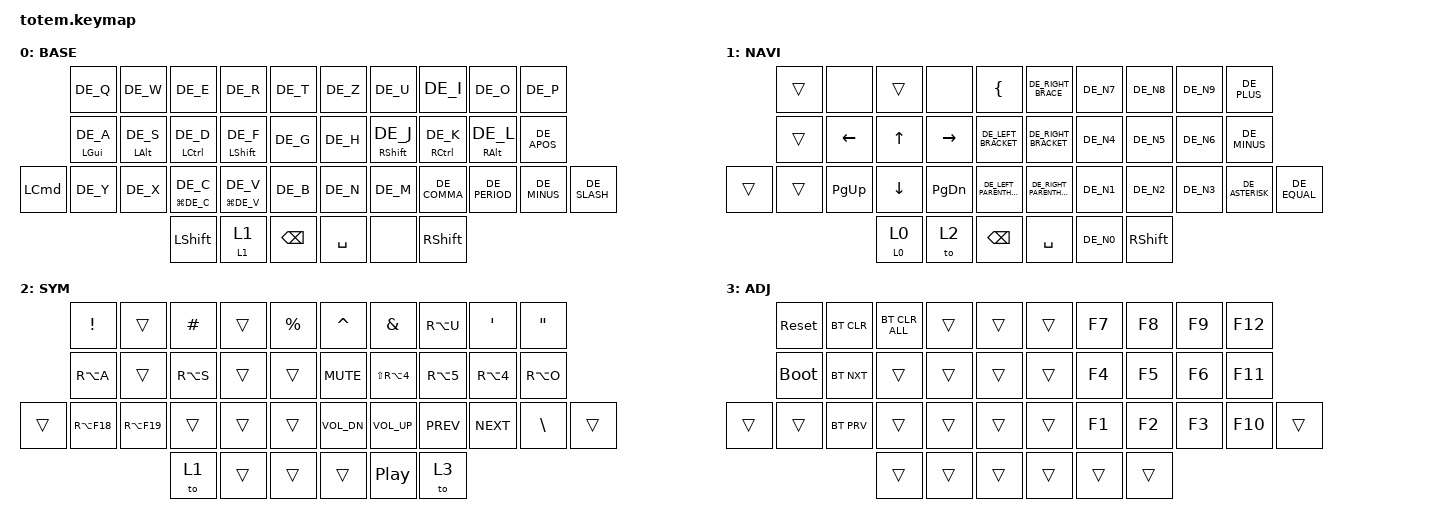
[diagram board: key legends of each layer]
//
//                                                        ▀▀▀▀▀     ▀▀▀▀▀          ▀▀█▀▀
//                                                        ▄▀▀▀▄  ▄  ▄▀▀▀▄  ▄  ▄▀▀▀▄  █  ▄▀▀▀▄
//                                                        █   █  █  █   █  █  █   █  █  █   █
//                                                         ▀▀▀   █   ▀▀▀   █   ▀▀▀   ▀   ▀▀▀
//                                                               █      ▄▄▄█▄▄▄    █   █
//                                                               ▀      █  █  █     █▄█
//                                                             ▀▀▀▀▀    █  █  █      ▀
//                                                                      ▀  ▀  ▀
//
// ▄▄▄▄▄▄▄▄▄▄▄▄▄▄▄▄▄▄▄▄▄▄▄▄▄▄▄▄▄▄▄▄▄▄▄▄▄▄▄▄▄▄▄▄▄▄▄▄▄▄▄▄▄▄▄▄▄▄▄▄▄▄▄▄▄▄▄▄▄▄▄▄▄▄▄▄▄▄▄▄▄▄▄▄▄▄▄▄▄▄▄▄▄▄▄▄▄▄▄▄▄▄▄▄▄▄▄▄▄▄▄▄▄▄▄▄▄▄▄▄▄▄▄▄▄▄▄▄▄▄▄▄▄▄▄▄▄▄▄▄▄▄▄▄▄▄▄▄▄

#include "keys_de.h"
#include <behaviors.dtsi>
#include <dt-bindings/zmk/bt.h>
#include <dt-bindings/zmk/keys.h>

#define BASE 0
#define NAV  1
#define SYM  2
#define ADJ  3
#define TVP1 4
#define TVP2 5

&mt {
    quick-tap-ms = <100>;
    global-quick-tap;
    flavor = "tap-preferred";
    tapping-term-ms = <170>;
};

/ {
    combos {
        compatible = "zmk,combos";

        combo_esc {
            timeout-ms = <50>;
            key-positions = <0 1>;
            bindings = <&kp ESC>;
        };

        Enter {
            bindings = <&kp KP_ENTER>;
            key-positions = <16 17 18>;
        };

        Return {
            bindings = <&kp ENTER>;
            key-positions = <16 17>;
        };

        to_base {
            bindings = <&to 0>;
            key-positions = <35 34>;
        };

        Eszett {
            bindings = <&kp DE_SZ>;
            key-positions = <5 11>;
        };

        ae {
            bindings = <&kp DE_A_UMLAUT>;
            key-positions = <10 2>;
        };

        oe {
            bindings = <&kp DE_O_UMLAUT>;
            key-positions = <8 2>;
        };

        ue {
            bindings = <&kp DE_U_UMLAUT>;
            key-positions = <6 2>;
        };
    };

    behaviors {
        layermomenttap: layermomenttap {
            compatible = "zmk,behavior-hold-tap";
            label = "LAYERMOMENTTAP";
            bindings = <&mo>, <&to>;

            #binding-cells = <2>;
            tapping-term-ms = <200>;
            flavor = "balanced";
            hold-while-undecided;
        };
    };

    keymap {
        compatible = "zmk,keymap";

        // ▄▄▄▄▄▄▄▄▄▄▄▄▄▄▄▄▄▄▄▄▄▄▄▄▄▄▄▄▄▄▄▄▄▄▄▄▄▄▄▄▄▄▄▄▄▄▄▄▄▄▄▄▄▄▄▄▄▄▄▄▄▄▄▄▄▄▄▄▄▄▄▄▄▄▄▄▄▄▄▄▄▄▄▄▄▄▄▄▄▄▄▄▄▄▄▄▄▄▄▄▄▄▄▄▄▄▄▄▄▄▄▄▄▄▄▄▄▄▄▄▄▄▄▄▄▄▄▄▄▄▄▄▄▄▄▄▄▄▄▄▄▄▄▄▄▄▄▄▄

        base_layer {
            // ┏━━━━━━━━━━━━━━━━━━━━━━━━━━━━━━━━━━━━━━━┓

            label = "BASE";

            // ┗━━━━━━━━━━━━━━━━━━━━━━━━━━━━━━━━━━━━━━━┛
            //             ┏━━━━━━━━━━━┳━━━━━━━━━━━┳━━━━━━━━━━━┳━━━━━━━━━━━┳━━━━━━━━━━━┓   ┏━━━━━━━━━━━┳━━━━━━━━━━━┳━━━━━━━━━━━┳━━━━━━━━━━━┳━━━━━━━━━━━┓
            //             ┃     Q     ┃     W     ┃     F     ┃     P     ┃     G     ┃   ┃     J     ┃     L     ┃     U     ┃     Y     ┃     ;     ┃
            //             ┣━━━━━━━━━━━╋━━━━━━━━━━━╋━━━━━━━━━━━╋━━━━━━━━━━━╋━━━━━━━━━━━┫   ┣━━━━━━━━━━━╋━━━━━━━━━━━╋━━━━━━━━━━━╋━━━━━━━━━━━╋━━━━━━━━━━━┫
            //             ┃     A     ┃     R     ┃     S     ┃     T     ┃     D     ┃   ┃     H     ┃     N     ┃     E     ┃     I     ┃     O     ┃
            // ┏━━━━━━━━━━━╋━━━━━━━━━━━╋━━━━━━━━━━━╋━━━━━━━━━━━╋━━━━━━━━━━━╋━━━━━━━━━━━┫   ┣━━━━━━━━━━━╋━━━━━━━━━━━╋━━━━━━━━━━━╋━━━━━━━━━━━╋━━━━━━━━━━━╋━━━━━━━━━━━┓
            // ┃     Q     ┃     Z     ┃     X     ┃     C     ┃     V     ┃     B     ┃   ┃     K     ┃     M     ┃     ,     ┃     .     ┃     /     ┃     \     ┃
            // ┗━━━━━━━━━━━┻━━━━━━━━━━━┻━━━━━━━━━━━╋━━━━━━━━━━━╋━━━━━━━━━━━╋━━━━━━━━━━━┫   ┣━━━━━━━━━━━╋━━━━━━━━━━━╋━━━━━━━━━━━╋━━━━━━━━━━━┻━━━━━━━━━━━┻━━━━━━━━━━━┛
            //                                     ┃    DEL    ┃    TAB    ┃    SPC    ┃   ┃   ENTER   ┃           ┃   BSPC    ┃
            //                                     ┗━━━━━━━━━━━┻━━━━━━━━━━━┻━━━━━━━━━━━┛   ┗━━━━━━━━━━━┻━━━━━━━━━━━┻━━━━━━━━━━━┛

            bindings = <
                  &kp DE_Q       &kp DE_W       &kp DE_E           &kp DE_R             &kp DE_T         &kp DE_Z   &kp DE_U        &kp DE_I         &kp DE_O       &kp DE_P
                  &mt LGUI DE_A  &mt LALT DE_S  &mt LCTRL DE_D     &mt LSHFT DE_F       &kp DE_G         &kp DE_H   &mt RSHFT DE_J  &mt RCTRL DE_K   &mt RALT DE_L  &kp DE_APOS
&kp LEFT_COMMAND  &kp DE_Y       &kp DE_X       &mt LG(DE_C) DE_C  &mt LG(DE_V) DE_V    &kp DE_B         &kp DE_N   &kp DE_M        &kp DE_COMMA     &kp DE_PERIOD  &kp DE_MINUS  &kp DE_SLASH
                                                &kp LEFT_SHIFT     &layermomenttap 1 1  &kp BACKSPACE    &kp SPACE  &none           &kp RIGHT_SHIFT
            >;
        };

        // ▄▄▄▄▄▄▄▄▄▄▄▄▄▄▄▄▄▄▄▄▄▄▄▄▄▄▄▄▄▄▄▄▄▄▄▄▄▄▄▄▄▄▄▄▄▄▄▄▄▄▄▄▄▄▄▄▄▄▄▄▄▄▄▄▄▄▄▄▄▄▄▄▄▄▄▄▄▄▄▄▄▄▄▄▄▄▄▄▄▄▄▄▄▄▄▄▄▄▄▄▄▄▄▄▄▄▄▄▄▄▄▄▄▄▄▄▄▄▄▄▄▄▄▄▄▄▄▄▄▄▄▄▄▄▄▄▄▄▄▄▄▄▄▄▄▄▄▄▄

        nav_layer {
            // ┏━━━━━━━━━━━━━━━━━━━━━━━━━━━━━━━━━━━━━━━┓

            label = "NAVI";

            // ┗━━━━━━━━━━━━━━━━━━━━━━━━━━━━━━━━━━━━━━━┛
            //             ┏━━━━━━━━━━━┳━━━━━━━━━━━┳━━━━━━━━━━━┳━━━━━━━━━━━┳━━━━━━━━━━━┓   ┏━━━━━━━━━━━┳━━━━━━━━━━━┳━━━━━━━━━━━┳━━━━━━━━━━━┳━━━━━━━━━━━┓
            //             ┃           ┃           ┃     UP    ┃           ┃     {     ┃   ┃     }     ┃     7     ┃     8     ┃     9     ┃     +     ┃
            //             ┣━━━━━━━━━━━╋━━━━━━━━━━━╋━━━━━━━━━━━╋━━━━━━━━━━━╋━━━━━━━━━━━┫   ┣━━━━━━━━━━━╋━━━━━━━━━━━╋━━━━━━━━━━━╋━━━━━━━━━━━╋━━━━━━━━━━━┫
            //             ┃   SHIFT   ┃   LEFT    ┃    DOWN   ┃   RIGHT   ┃     [     ┃   ┃     ]     ┃     4     ┃     5     ┃     6     ┃     -     ┃
            // ┏━━━━━━━━━━━╋━━━━━━━━━━━╋━━━━━━━━━━━╋━━━━━━━━━━━╋━━━━━━━━━━━╋━━━━━━━━━━━┫   ┣━━━━━━━━━━━╋━━━━━━━━━━━╋━━━━━━━━━━━╋━━━━━━━━━━━╋━━━━━━━━━━━╋━━━━━━━━━━━┓
            // ┃           ┃           ┃   P UP    ┃  C LOCK   ┃  P DOWN   ┃     (     ┃   ┃     )     ┃     1     ┃     2     ┃     3     ┃     *     ┃           ┃
            // ┗━━━━━━━━━━━┻━━━━━━━━━━━┻━━━━━━━━━━━╋━━━━━━━━━━━╋━━━━━━━━━━━╋━━━━━━━━━━━┫   ┣━━━━━━━━━━━╋━━━━━━━━━━━╋━━━━━━━━━━━╋━━━━━━━━━━━┻━━━━━━━━━━━┻━━━━━━━━━━━┛
            //                                     ┃           ┃    TAB    ┃    SPC    ┃   ┃    DEL    ┃     0     ┃           ┃
            //                                     ┗━━━━━━━━━━━┻━━━━━━━━━━━┻━━━━━━━━━━━┛   ┗━━━━━━━━━━━┻━━━━━━━━━━━┻━━━━━━━━━━━┛

            bindings = <
        &trans  &none      &trans               &none      &kp LEFT_BRACE             &kp DE_RIGHT_BRACE        &kp DE_N7  &kp DE_N8        &kp DE_N9  &kp DE_PLUS
        &trans  &kp LEFT   &kp UP               &kp RIGHT  &kp DE_LEFT_BRACKET        &kp DE_RIGHT_BRACKET      &kp DE_N4  &kp DE_N5        &kp DE_N6  &kp DE_MINUS
&trans  &trans  &kp PG_UP  &kp DOWN             &kp PG_DN  &kp DE_LEFT_PARENTHESIS    &kp DE_RIGHT_PARENTHESIS  &kp DE_N1  &kp DE_N2        &kp DE_N3  &kp DE_ASTERISK  &kp DE_EQUAL
                           &layermomenttap 0 0  &to 2      &kp BACKSPACE              &kp SPACE                 &kp DE_N0  &kp RIGHT_SHIFT
            >;
        };

        // ▄▄▄▄▄▄▄▄▄▄▄▄▄▄▄▄▄▄▄▄▄▄▄▄▄▄▄▄▄▄▄▄▄▄▄▄▄▄▄▄▄▄▄▄▄▄▄▄▄▄▄▄▄▄▄▄▄▄▄▄▄▄▄▄▄▄▄▄▄▄▄▄▄▄▄▄▄▄▄▄▄▄▄▄▄▄▄▄▄▄▄▄▄▄▄▄▄▄▄▄▄▄▄▄▄▄▄▄▄▄▄▄▄▄▄▄▄▄▄▄▄▄▄▄▄▄▄▄▄▄▄▄▄▄▄▄▄▄▄▄▄▄▄▄▄▄▄▄▄

        sim_layer {
            // ┏━━━━━━━━━━━━━━━━━━━━━━━━━━━━━━━━━━━━━━━┓

            label = "SYM";

            // ┗━━━━━━━━━━━━━━━━━━━━━━━━━━━━━━━━━━━━━━━┛
            //             ┏━━━━━━━━━━━┳━━━━━━━━━━━┳━━━━━━━━━━━┳━━━━━━━━━━━┳━━━━━━━━━━━┓   ┏━━━━━━━━━━━┳━━━━━━━━━━━┳━━━━━━━━━━━┳━━━━━━━━━━━┳━━━━━━━━━━━┓
            //             ┃     !     ┃     @     ┃     #     ┃     $     ┃     %     ┃   ┃     ˆ     ┃     &     ┃     Ü     ┃     '     ┃     "     ┃
            //             ┣━━━━━━━━━━━╋━━━━━━━━━━━╋━━━━━━━━━━━╋━━━━━━━━━━━╋━━━━━━━━━━━┫   ┣━━━━━━━━━━━╋━━━━━━━━━━━╋━━━━━━━━━━━╋━━━━━━━━━━━╋━━━━━━━━━━━┫
            //             ┃     Ä     ┃           ┃    SZ     ┃           ┃           ┃   ┃   MUTE    ┃   YEN     ┃   EURO    ┃  POUND    ┃     Ö     ┃
            // ┏━━━━━━━━━━━╋━━━━━━━━━━━╋━━━━━━━━━━━╋━━━━━━━━━━━╋━━━━━━━━━━━╋━━━━━━━━━━━┫   ┣━━━━━━━━━━━╋━━━━━━━━━━━╋━━━━━━━━━━━╋━━━━━━━━━━━╋━━━━━━━━━━━╋━━━━━━━━━━━┓
            // ┃           ┃  EMAIL1   ┃  EMAIL2   ┃           ┃           ┃           ┃   ┃   VOL-    ┃   VOL+    ┃   LAST    ┃   NEXT    ┃     \     ┃           ┃
            // ┗━━━━━━━━━━━┻━━━━━━━━━━━┻━━━━━━━━━━━╋━━━━━━━━━━━╋━━━━━━━━━━━╋━━━━━━━━━━━┫   ┣━━━━━━━━━━━╋━━━━━━━━━━━╋━━━━━━━━━━━╋━━━━━━━━━━━┻━━━━━━━━━━━┻━━━━━━━━━━━┛
            //                                     ┃           ┃    GIF    ┃    ADJ    ┃   ┃           ┃           ┃           ┃
            //                                     ┗━━━━━━━━━━━┻━━━━━━━━━━━┻━━━━━━━━━━━┛   ┗━━━━━━━━━━━┻━━━━━━━━━━━┻━━━━━━━━━━━┛

            bindings = <
        &kp EXCL     &trans       &kp HASH   &trans  &kp PRCNT    &kp CARET     &kp AMPS        &kp RA(U)   &kp SQT     &kp DQT
        &kp RA(A)    &trans       &kp RA(S)  &trans  &trans       &kp C_MUTE    &kp LS(RA(N4))  &kp RA(N5)  &kp RA(N4)  &kp RA(O)
&trans  &kp RA(F18)  &kp RA(F19)  &trans     &trans  &trans       &kp C_VOL_DN  &kp C_VOL_UP    &kp C_PREV  &kp C_NEXT  &kp BSLH   &trans
                                  &to 1      &trans  &trans       &trans        &kp C_PP        &to 3
            >;
        };

        // ▄▄▄▄▄▄▄▄▄▄▄▄▄▄▄▄▄▄▄▄▄▄▄▄▄▄▄▄▄▄▄▄▄▄▄▄▄▄▄▄▄▄▄▄▄▄▄▄▄▄▄▄▄▄▄▄▄▄▄▄▄▄▄▄▄▄▄▄▄▄▄▄▄▄▄▄▄▄▄▄▄▄▄▄▄▄▄▄▄▄▄▄▄▄▄▄▄▄▄▄▄▄▄▄▄▄▄▄▄▄▄▄▄▄▄▄▄▄▄▄▄▄▄▄▄▄▄▄▄▄▄▄▄▄▄▄▄▄▄▄▄▄▄▄▄▄▄▄▄

        BT_Layer {
            // ┏━━━━━━━━━━━━━━━━━━━━━━━━━━━━━━━━━━━━━━━┓

            label = "ADJ";

            // ┗━━━━━━━━━━━━━━━━━━━━━━━━━━━━━━━━━━━━━━━┛
            //             ┏━━━━━━━━━━━┳━━━━━━━━━━━┳━━━━━━━━━━━┳━━━━━━━━━━━┳━━━━━━━━━━━┓   ┏━━━━━━━━━━━┳━━━━━━━━━━━┳━━━━━━━━━━━┳━━━━━━━━━━━┳━━━━━━━━━━━┓
            //             ┃   RESET   ┃ BT CLEAR  ┃  OUT TOG  ┃           ┃           ┃   ┃           ┃    F7     ┃    F8     ┃    F9     ┃    F12    ┃
            //             ┣━━━━━━━━━━━╋━━━━━━━━━━━╋━━━━━━━━━━━╋━━━━━━━━━━━╋━━━━━━━━━━━┫   ┣━━━━━━━━━━━╋━━━━━━━━━━━╋━━━━━━━━━━━╋━━━━━━━━━━━╋━━━━━━━━━━━┫
            //             ┃ BOOTLOAD  ┃ BT NEXT   ┃           ┃           ┃           ┃   ┃           ┃    F4     ┃    F5     ┃    F6     ┃    F11    ┃
            // ┏━━━━━━━━━━━╋━━━━━━━━━━━╋━━━━━━━━━━━╋━━━━━━━━━━━╋━━━━━━━━━━━╋━━━━━━━━━━━┫   ┣━━━━━━━━━━━╋━━━━━━━━━━━╋━━━━━━━━━━━╋━━━━━━━━━━━╋━━━━━━━━━━━╋━━━━━━━━━━━┓
            // ┃           ┃           ┃ BT PREV   ┃           ┃           ┃           ┃   ┃           ┃    F1     ┃    F2     ┃    F3     ┃    F10    ┃           ┃
            // ┗━━━━━━━━━━━┻━━━━━━━━━━━┻━━━━━━━━━━━╋━━━━━━━━━━━╋━━━━━━━━━━━╋━━━━━━━━━━━┫   ┣━━━━━━━━━━━╋━━━━━━━━━━━╋━━━━━━━━━━━╋━━━━━━━━━━━┻━━━━━━━━━━━┻━━━━━━━━━━━┛
            //                                     ┃           ┃           ┃           ┃   ┃           ┃           ┃           ┃
            //                                     ┗━━━━━━━━━━━┻━━━━━━━━━━━┻━━━━━━━━━━━┛   ┗━━━━━━━━━━━┻━━━━━━━━━━━┻━━━━━━━━━━━┛

            bindings = <
        &sys_reset   &bt BT_CLR  &bt BT_CLR_ALL  &trans  &trans    &trans  &kp F7  &kp F8  &kp F9  &kp F12
        &bootloader  &bt BT_NXT  &trans          &trans  &trans    &trans  &kp F4  &kp F5  &kp F6  &kp F11
&trans  &trans       &bt BT_PRV  &trans          &trans  &trans    &trans  &kp F1  &kp F2  &kp F3  &kp F10  &trans
                                 &trans          &trans  &trans    &trans  &trans  &trans
            >;
        };

        // ▄▄▄▄▄▄▄▄▄▄▄▄▄▄▄▄▄▄▄▄▄▄▄▄▄▄▄▄▄▄▄▄▄▄▄▄▄▄▄▄▄▄▄▄▄▄▄▄▄▄▄▄▄▄▄▄▄▄▄▄▄▄▄▄▄▄▄▄▄▄▄▄▄▄▄▄▄▄▄▄▄▄▄▄▄▄▄▄▄▄▄▄▄▄▄▄▄▄▄▄▄▄▄▄▄▄▄▄▄▄▄▄▄▄▄▄▄▄▄▄▄▄▄▄▄▄▄▄▄▄▄▄▄▄▄▄▄▄▄▄▄▄▄▄▄▄▄▄▄
        // ▄▄▄▄▄▄▄▄▄▄▄▄▄▄▄▄▄▄▄▄▄▄▄▄▄▄▄▄▄▄▄▄▄▄▄▄▄▄▄▄▄▄▄▄▄▄▄▄▄▄▄▄▄▄▄▄▄▄▄▄▄▄▄▄▄▄▄▄▄▄▄▄▄▄▄▄▄▄▄▄▄▄▄▄▄▄▄▄▄▄▄▄▄▄▄▄▄▄▄▄▄▄▄▄▄▄▄▄▄▄▄▄▄▄▄▄▄▄▄▄▄▄▄▄▄▄▄▄▄▄▄▄▄▄▄▄▄▄▄▄▄▄▄▄▄▄▄▄▄
    };
};
